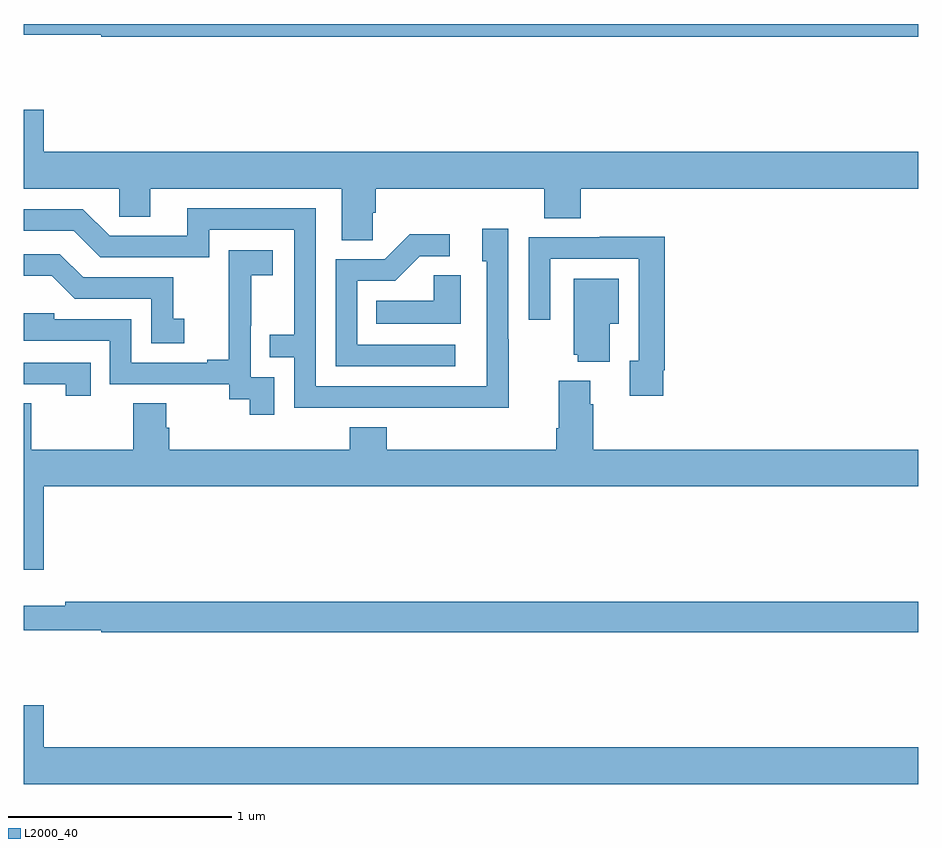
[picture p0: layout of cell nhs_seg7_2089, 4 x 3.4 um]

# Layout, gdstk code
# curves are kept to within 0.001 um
import gdstk
lib = gdstk.Library(unit=1e-6, precision=1e-09)
def P(c, l, *ps):  # polygons
    for p in ps: c.add(gdstk.Polygon(p, *l))
L2000_40 = (2000, 40)

nhs_seg7_2089 = lib.new_cell('nhs_seg7_2089')
P(nhs_seg7_2089, L2000_40, [(253,1020),(249,1020),(249,1019.952),(249.345,1019.952),(249.345,1019.944),(253,1019.944)],
  [(250.56,1019.155),(250.574,1019.155),(250.574,1019.264),(251.327,1019.264),(251.327,1019.131),(251.492,1019.131),(251.492,1019.264),(253,1019.264),(253,1019.428),(249.088,1019.428),(249.088,1019.617),(249,1019.617),(249,1019.264),(249.426,1019.264),(249.426,1019.137),(249.565,1019.137),(249.565,1019.264),(250.421,1019.264),(250.421,1019.032),(250.56,1019.032)],
  [(251.169,1018.589),(251.166,1018.589),(251.166,1019.083),(251.051,1019.083),(251.051,1018.938),(251.07,1018.938),(251.07,1018.38),(250.305,1018.38),(250.305,1019.175),(249.731,1019.175),(249.731,1019.052),(249.384,1019.052),(249.264,1019.172),(249,1019.172),(249,1019.076),(249.222,1019.076),(249.342,1018.956),(249.828,1018.956),(249.828,1019.079),(250.209,1019.079),(250.209,1018.61),(250.099,1018.61),(250.099,1018.509),(250.209,1018.509),(250.209,1018.284),(251.169,1018.283)],
  [(250.93,1018.566),(250.491,1018.566),(250.491,1018.851),(250.66,1018.851),(250.771,1018.962),(250.906,1018.962),(250.906,1019.06),(250.727,1019.06),(250.614,1018.947),(250.395,1018.947),(250.395,1018.47),(250.93,1018.47)],
  [(251.86,1018.45),(251.867,1018.45),(251.867,1019.048),(251.575,1019.048),(251.575,1019.046),(251.259,1019.046),(251.259,1018.677),(251.355,1018.677),(251.355,1018.95),(251.751,1018.95),(251.751,1018.494),(251.711,1018.494),(251.711,1018.338),(251.86,1018.338)],
  [(250.119,1018.419),(250.014,1018.419),(250.014,1018.649),(250.016,1018.649),(250.016,1018.877),(250.114,1018.877),(250.114,1018.987),(249.916,1018.987),(249.916,1018.781),(249.917,1018.781),(249.917,1018.498),(249.821,1018.498),(249.821,1018.485),(249.48,1018.485),(249.48,1018.68),(249.135,1018.68),(249.135,1018.707),(249,1018.707),(249,1018.584),(249.384,1018.584),(249.384,1018.389),(249.918,1018.389),(249.918,1018.321),(250.011,1018.321),(250.011,1018.251),(250.119,1018.251)],
  [(249.718,1018.681),(249.669,1018.681),(249.669,1018.866),(249.265,1018.866),(249.16,1018.971),(249,1018.971),(249,1018.874),(249.124,1018.874),(249.228,1018.77),(249.57,1018.77),(249.57,1018.572),(249.718,1018.572)],
  [(250.954,1018.877),(250.833,1018.877),(250.833,1018.762),(250.576,1018.762),(250.576,1018.658),(250.954,1018.658)],
  [(251.62,1018.658),(251.662,1018.658),(251.662,1018.861),(251.459,1018.861),(251.459,1018.521),(251.477,1018.521),(251.477,1018.49),(251.62,1018.49)],
  [(249.299,1018.485),(249,1018.485),(249,1018.389),(249.188,1018.389),(249.188,1018.338),(249.299,1018.338)],
  [(249.088,1017.932),(253,1017.932),(253,1018.096),(251.546,1018.096),(251.546,1018.298),(251.533,1018.298),(251.533,1018.405),(251.393,1018.405),(251.393,1018.192),(251.381,1018.192),(251.381,1018.096),(250.622,1018.096),(250.622,1018.195),(250.457,1018.195),(250.457,1018.096),(249.65,1018.096),(249.65,1018.194),(249.637,1018.194),(249.637,1018.304),(249.49,1018.304),(249.49,1018.096),(249.033,1018.096),(249.033,1018.304),(249,1018.304),(249,1017.558),(249.088,1017.558)],
  [(253,1017.416),(249.184,1017.416),(249.184,1017.397),(249,1017.397),(249,1017.288),(249.345,1017.288),(249.345,1017.28),(253,1017.28)],
  [(253,1016.764),(249.088,1016.764),(249.088,1016.953),(249,1016.953),(249,1016.6),(253,1016.6)])

lib.write_gds('nhs_seg7_2089.gds')
